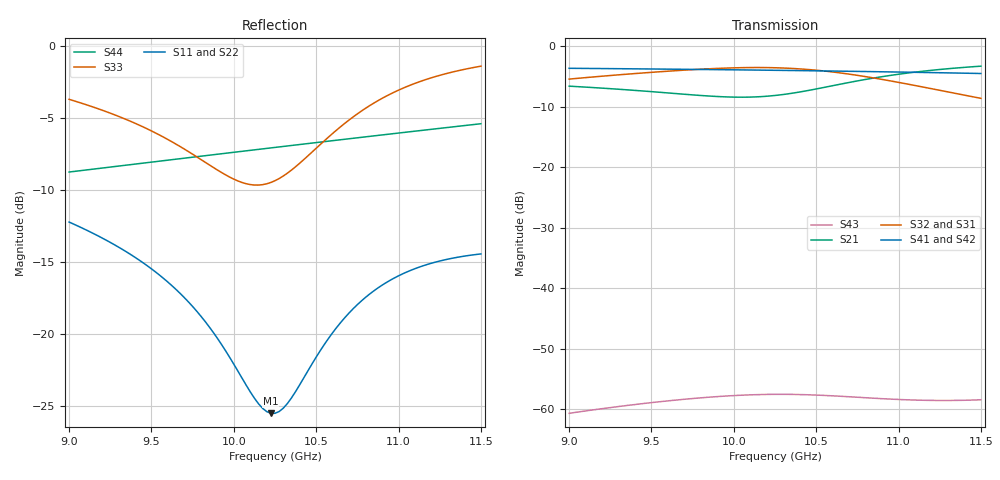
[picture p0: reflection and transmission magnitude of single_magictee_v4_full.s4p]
! Generated from PyAEDT SolutionData; AEDT ExportNetworkData workaround
# GHz S MA R 50
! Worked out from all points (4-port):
!   101 points, 9 GHz to 11.5 GHz, reference 50 ohm
!   strongest paths, dB at 9 GHz, 9.625 GHz, 10.25 GHz, 10.88 GHz, 11.5 GHz:
!     S41: -3.6, -3.8, -4.0, -4.2, -4.5
!     S42: -3.6, -3.8, -4.0, -4.2, -4.5
!     S32: -5.4, -4.1, -3.5, -5.3, -8.6
!     S31: -5.4, -4.1, -3.6, -5.4, -8.6
!     S21: -6.6, -7.8, -8.1, -5.1, -3.3
!     S43: -60.7, -58.6, -57.5, -58.2, -58.4
!   lowest |S11| = -25.5 dB at 10.22 GHz (marker M1), VSWR 1.11, Z = 47.2 - j4.35 ohm
!   |S11| at or under -10 dB: start of sweep to end of sweep
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9  0.2451 124.9  0.4688 175.3  0.5351 -105.9  0.6587 46.0
   0.4688 175.3  0.2456 124.7  0.536 -105.9  0.6577 -134.0
   0.5351 -105.9  0.536 -105.9  0.653 169.7  0.0009246 -84.6
   0.6587 46.0  0.6577 -134.0  0.0009246 -84.6  0.3655 -114.5
9.575  0.156 42.0  0.4146 115.6  0.6189 145.3  0.6486 -19.1
       0.4146 115.6  0.1569 41.7  0.62 145.3  0.6474 160.9
       0.6189 145.3  0.62 145.3  0.4822 13.1  0.001162 163.3
       0.6486 -19.1  0.6474 160.9  0.001162 163.3  0.4002 -175.9
9.9  0.09692 -17.3  0.385 87.8  0.6559 82.8  0.642 -54.6
     0.385 87.8  0.09802 -17.5  0.6571 82.9  0.6406 125.5
     0.6559 82.8  0.6571 82.9  0.3715 -87.4  0.001271 99.4
     0.642 -54.6  0.6406 125.5  0.001271 99.4  0.4212 150.2
10.225  0.05322 -120.3  0.3896 65.4  0.6653 18.9  0.6346 -89.3
        0.3896 65.4  0.05411 -119.7  0.6666 19.0  0.6332 90.7
        0.6653 18.9  0.6666 19.0  0.3363 151.6  0.001326 35.3
        0.6346 -89.3  0.6332 90.7  0.001326 35.3  0.4431 116.7
10.75  0.1267 88.1  0.518 22.4  0.5747 -83.9  0.6208 -144.3
       0.518 22.4  0.1269 88.4  0.576 -83.8  0.6196 35.8
       0.5747 -83.9  0.576 -83.8  0.5814 -21.6  0.001255 -64.3
       0.6208 -144.3  0.6196 35.8  0.001255 -64.3  0.4803 63.1
11.1  0.1689 30.0  0.6122 -14.6  0.4736 -147.8  0.6102 179.6
      0.6122 -14.6  0.1692 30.3  0.4747 -147.7  0.6093 -0.2
      0.4736 -147.8  0.4747 -147.7  0.7419 -110.1  0.00119 -125.0
      0.6102 179.6  0.6093 -0.2  0.00119 -125.0  0.5064 27.6
11.5  0.19 -25.2  0.6859 -58.4  0.3709 144.6  0.5966 138.7
      0.6859 -58.4  0.1898 -24.9  0.3718 144.7  0.5961 -41.1
      0.3709 144.6  0.3718 144.7  0.851 160.5  0.001197 168.3
      0.5966 138.7  0.5961 -41.1  0.001197 168.3  0.5374 -12.8
